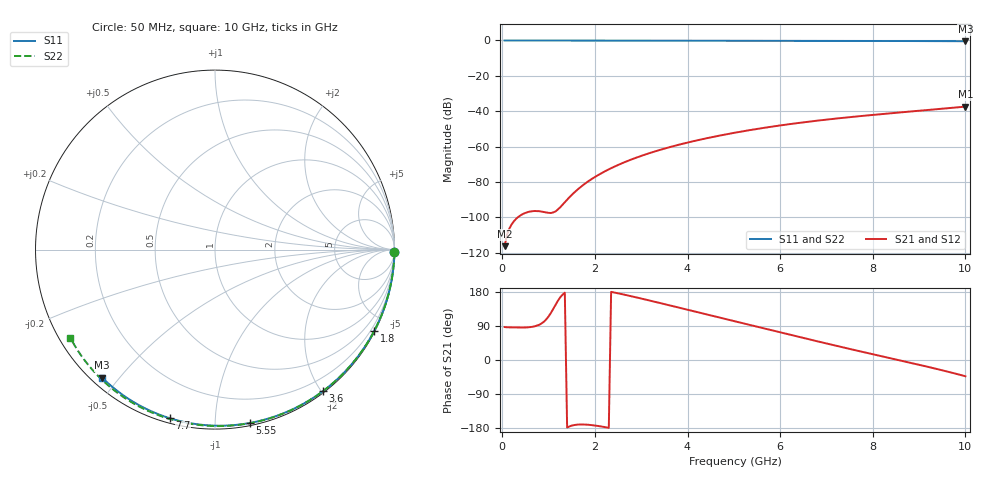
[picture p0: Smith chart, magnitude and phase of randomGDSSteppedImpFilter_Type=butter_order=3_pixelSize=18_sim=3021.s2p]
! freq	dB(S11)	phase(S11)	dB(S12)	phase(S12)
!  dB(S21)	phase(S21)	dB(S22)	phase(S22)
!S-par simulation data
#  GHz  S  DB  R 50
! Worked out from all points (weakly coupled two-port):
!   200 points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, 50 MHz to 10 GHz, reference 50 ohm
!   highest |S21| = -37.44 dB at 10 GHz (marker M1); lowest = -116.4 dB at 50 MHz (marker M2)
!   lowest |S11| = -0.4 dB at 10 GHz (marker M3), VSWR 39.68, Z = 1.52 - j22.5 ohm
!   |S11| at or under -10 dB: nowhere
!   |S22| runs from -0.5 to 0.0 dB; largest |S21 - S12| = 0
!   S11 on the Smith chart (normalised r, x): 50 MHz: open; 1.8 GHz: 0.04, -4.17; 3.6 GHz: 0.02, -2.02; 5.55 GHz: 0.02, -1.22; 7.7 GHz: 0.02, -0.77; 10 GHz: 0.03, -0.45
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0.05  -0.00 -0.8  -116.36 87.0  -116.36 87.0  -0.00 -0.9
0.5  -0.01 -7.6  -97.54 85.8  -97.54 85.8  -0.01 -8.6
0.9  -0.02 -13.6  -97.04 101.2  -97.04 101.2  -0.02 -15.4
1.75  -0.03 -26.2  -81.70 -170.2  -81.70 -170.2  -0.04 -29.7
1.8  -0.03 -26.9  -80.72 -170.4  -80.72 -170.4  -0.04 -30.6
1.85  -0.04 -27.7  -79.80 -170.8  -79.80 -170.8  -0.04 -31.4
2  -0.04 -29.9  -77.23 -172.9  -77.23 -172.9  -0.04 -33.9
2.15  -0.04 -32.1  -74.96 -175.7  -74.96 -175.7  -0.05 -36.4
2.35  -0.05 -35.0  -72.26 179.8  -72.26 179.8  -0.05 -39.6
2.55  -0.05 -37.8  -69.86 174.7  -69.86 174.7  -0.06 -42.9
2.95  -0.06 -43.6  -65.76 163.6  -65.76 163.6  -0.06 -49.3
3.4  -0.07 -49.9  -61.94 150.5  -61.94 150.5  -0.07 -56.5
3.6  -0.07 -52.7  -60.45 144.6  -60.45 144.6  -0.08 -59.6
4.3  -0.09 -62.2  -55.95 123.7  -55.95 123.7  -0.10 -70.3
5.05  -0.11 -72.2  -52.05 101.3  -52.05 101.3  -0.12 -81.5
5.55  -0.13 -78.7  -49.84 86.4  -49.84 86.4  -0.14 -88.7
6.1  -0.15 -85.6  -47.70 70.1  -47.70 70.1  -0.17 -96.5
6.7  -0.18 -93.1  -45.68 52.4  -45.68 52.4  -0.20 -104.8
7.7  -0.24 -105.1  -42.87 23.6  -42.87 23.6  -0.27 -118.3
8.35  -0.29 -112.7  -41.28 5.5  -41.28 5.5  -0.32 -127.0
9.2  -0.36 -122.4  -39.29 -18.3  -39.29 -18.3  -0.41 -138.2
10  -0.44 -131.4  -37.44 -42.9  -37.44 -42.9  -0.50 -148.7
